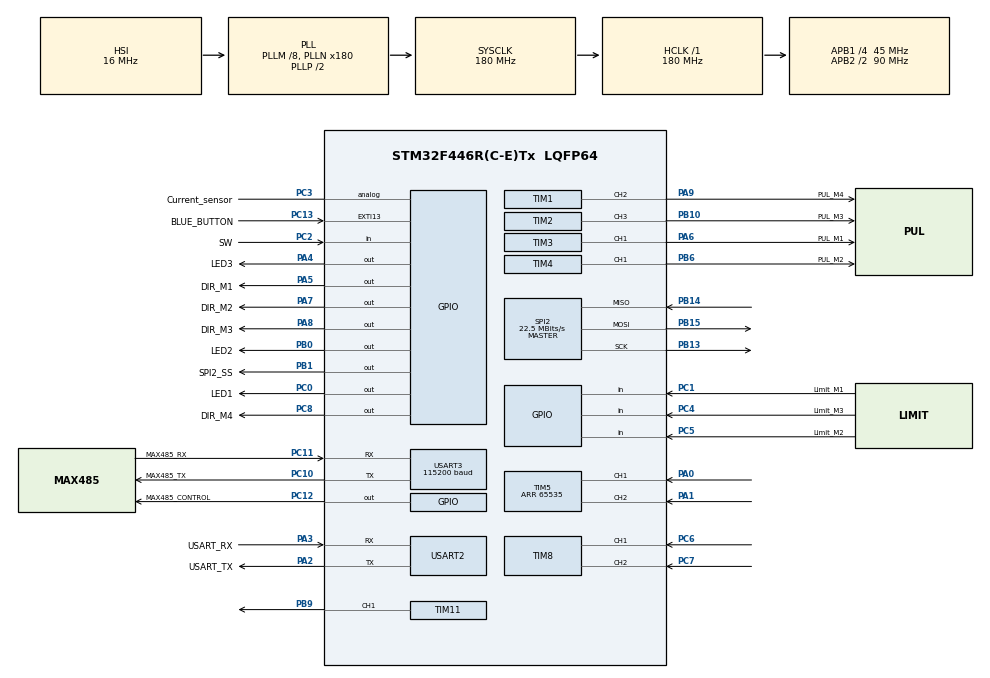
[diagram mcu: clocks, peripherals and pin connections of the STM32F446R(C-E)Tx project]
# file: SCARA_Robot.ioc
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Mcu.Family=STM32F4
Mcu.Name=STM32F446R(C-E)Tx
Mcu.Package=LQFP64
NVIC.PriorityGroup=NVIC_PRIORITYGROUP_4
NVIC.TIM1_UP_TIM10_IRQn=true\:0\:0\:false\:false\:true\:true\:true
NVIC.TIM6_DAC_IRQn=true\:0\:0\:false\:false\:true\:true\:true
NVIC.USART2_IRQn=true\:0\:0\:false\:false\:true\:true\:true
PA0-WKUP.Signal=S_TIM5_CH1
PA1.Signal=S_TIM5_CH2
PA13.GPIO_Label=TMS
PA13.Mode=Serial_Wire
PA13.Signal=SYS_JTMS-SWDIO
PA14.GPIO_Label=TCK
PA14.Mode=Serial_Wire
PA14.Signal=SYS_JTCK-SWCLK
PA2.GPIO_Label=USART_TX
PA2.Mode=Asynchronous
PA2.Signal=USART2_TX
PA3.GPIO_Label=USART_RX
PA3.Mode=Asynchronous
PA3.Signal=USART2_RX
PA4.GPIO_Label=LED3
PA4.Signal=GPIO_Output
PA5.GPIO_Label=DIR_M1
PA5.Signal=GPIO_Output
PA6.GPIO_Label=PUL_M1
PA6.Signal=S_TIM3_CH1
PA7.GPIO_Label=DIR_M2
PA7.Signal=GPIO_Output
PA8.GPIO_Label=DIR_M3
PA8.Signal=GPIO_Output
PA9.GPIO_Label=PUL_M4
PA9.Signal=S_TIM1_CH2
PB0.GPIO_Label=LED2
PB0.Signal=GPIO_Output
PB1.GPIO_Label=SPI2_SS
PB1.Signal=GPIO_Output
PB10.GPIO_Label=PUL_M3
PB10.Signal=S_TIM2_CH3
PB13.Mode=Full_Duplex_Master
PB13.Signal=SPI2_SCK
PB14.Mode=Full_Duplex_Master
PB14.Signal=SPI2_MISO
PB15.Mode=Full_Duplex_Master
PB15.Signal=SPI2_MOSI
PB6.GPIO_Label=PUL_M2
PB6.Signal=S_TIM4_CH1
PB8.GPIO_Label=servo
PB8.Signal=S_TIM10_CH1
PB9.Signal=S_TIM11_CH1
PC0.GPIO_Label=LED1
PC0.Signal=GPIO_Output
PC1.GPIO_Label=Limit_M1
PC1.Signal=GPIO_Input
PC10.GPIO_Label=MAX485_TX
PC10.Mode=Asynchronous
PC10.Signal=USART3_TX
PC11.GPIO_Label=MAX485_RX
PC11.Mode=Asynchronous
PC11.Signal=USART3_RX
PC12.GPIO_Label=MAX485_CONTROL
PC12.Signal=GPIO_Output
PC13.GPIO_Label=BLUE_BUTTON
PC13.GPIO_ModeDefaultEXTI=GPIO_MODE_IT_FALLING
PC13.Signal=GPXTI13
PC14-OSC32_IN.Mode=LSE-External-Oscillator
PC14-OSC32_IN.Signal=RCC_OSC32_IN
PC15-OSC32_OUT.Mode=LSE-External-Oscillator
PC15-OSC32_OUT.Signal=RCC_OSC32_OUT
PC2.GPIO_Label=SW
PC2.Signal=GPIO_Input
PC3.GPIO_Label=Current_sensor
PC3.Signal=GPIO_Analog
PC4.GPIO_Label=Limit_M3
PC4.Signal=GPIO_Input
PC5.GPIO_Label=Limit_M2
PC5.Signal=GPIO_Input
PC6.Signal=S_TIM8_CH1
PC7.Signal=S_TIM8_CH2
PC8.GPIO_Label=DIR_M4
PC8.Signal=GPIO_Output
PH0-OSC_IN.Mode=HSE-External-Oscillator
PH0-OSC_IN.Signal=RCC_OSC_IN
PH1-OSC_OUT.Mode=HSE-External-Oscillator
PH1-OSC_OUT.Signal=RCC_OSC_OUT
ProjectManager.HeapSize=0x200
ProjectManager.StackSize=0x400
ProjectManager.TargetToolchain=STM32CubeIDE
RCC.48MHZClocksFreq_Value=84000000
RCC.AHBFreq_Value=180000000
RCC.APB1CLKDivider=RCC_HCLK_DIV4
RCC.APB1Freq_Value=45000000
RCC.APB1TimFreq_Value=90000000
RCC.APB2CLKDivider=RCC_HCLK_DIV2
RCC.APB2Freq_Value=90000000
RCC.APB2TimFreq_Value=180000000
RCC.CortexFreq_Value=180000000
RCC.FLatency-AdvancedSettings=FLASH_LATENCY_5
RCC.HCLKFreq_Value=180000000
RCC.HSE_VALUE=8000000
RCC.HSI_VALUE=16000000
RCC.PLLM=8
RCC.PLLN=180
RCC.SYSCLKFreq_VALUE=180000000
RCC.SYSCLKSource=RCC_SYSCLKSOURCE_PLLCLK
RCC.USBFreq_Value=180000000
RCC.VCOOutputFreq_Value=360000000
SH.S_TIM10_CH1.0=TIM10_CH1
SH.S_TIM11_CH1.0=TIM11_CH1,PWM Generation1 CH1
SH.S_TIM1_CH2.0=TIM1_CH2,PWM Generation2 CH2
SH.S_TIM2_CH3.0=TIM2_CH3,PWM Generation3 CH3
SH.S_TIM3_CH1.0=TIM3_CH1,PWM Generation1 CH1
SH.S_TIM4_CH1.0=TIM4_CH1,PWM Generation1 CH1
SH.S_TIM5_CH1.0=TIM5_CH1,Encoder_Interface
SH.S_TIM5_CH2.0=TIM5_CH2,Encoder_Interface
SH.S_TIM8_CH1.0=TIM8_CH1,Encoder_Interface
SH.S_TIM8_CH2.0=TIM8_CH2,Encoder_Interface
SPI2.CalculateBaudRate=22.5 MBits/s
SPI2.Direction=SPI_DIRECTION_2LINES
SPI2.Mode=SPI_MODE_MASTER
SPI2.VirtualType=VM_MASTER
TIM1.AutoReloadPreload=TIM_AUTORELOAD_PRELOAD_ENABLE
TIM1.Channel-PWM\ Generation2\ CH2=TIM_CHANNEL_2
TIM1.Period=100-1
TIM1.Prescaler=2999
TIM1.Pulse-PWM\ Generation2\ CH2=50
TIM11.Channel=TIM_CHANNEL_1
TIM2.AutoReloadPreload=TIM_AUTORELOAD_PRELOAD_ENABLE
TIM2.Channel-PWM\ Generation3\ CH3=TIM_CHANNEL_3
TIM2.Period=119
TIM2.Prescaler=1499
TIM2.Pulse-PWM\ Generation3\ CH3=60
TIM3.AutoReloadPreload=TIM_AUTORELOAD_PRELOAD_ENABLE
TIM3.Channel-PWM\ Generation1\ CH1=TIM_CHANNEL_1
TIM3.Period=100-1
TIM3.Prescaler=1499
TIM3.Pulse-PWM\ Generation1\ CH1=50
TIM4.AutoReloadPreload=TIM_AUTORELOAD_PRELOAD_ENABLE
TIM4.Channel-PWM\ Generation1\ CH1=TIM_CHANNEL_1
TIM4.Period=100-1
TIM4.Prescaler=1499
TIM4.Pulse-PWM\ Generation1\ CH1=50
TIM5.EncoderMode=TIM_ENCODERMODE_TI12
TIM5.IC1Filter=1
TIM5.IC2Filter=1
TIM5.Period=65535
TIM6.Period=9999
TIM6.Prescaler=89
USART2.VirtualMode=VM_ASYNC
USART3.BaudRate=115200
USART3.VirtualMode=VM_ASYNC
VP_TIM11_VS_ClockSourceINT.Mode=Enable_Timer
VP_TIM1_VS_ClockSourceINT.Mode=Internal
VP_TIM2_VS_ClockSourceINT.Mode=Internal
VP_TIM3_VS_ClockSourceINT.Mode=Internal
VP_TIM4_VS_ClockSourceINT.Mode=Internal
VP_TIM6_VS_ClockSourceINT.Mode=Enable_Timer
board=NUCLEO-F446RE

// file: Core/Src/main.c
/* USER CODE BEGIN Header */
/**
  ******************************************************************************
  * @file           : main.c
  * @brief          : Main program body
  ******************************************************************************
  * @attention
  *
  * <h2><center>&copy; Copyright (c) 2021 STMicroelectronics.
  * All rights reserved.</center></h2>
  *
  * This software component is licensed by ST under BSD 3-Clause license,
  * the "License"; You may not use this file except in compliance with the
  * License. You may obtain a copy of the License at:
  *                        opensource.org/licenses/BSD-3-Clause
  *
  ******************************************************************************
  */
/* USER CODE END Header */
#include "main.h"
#include "spi.h"
#include "tim.h"
#include "usart.h"
#include "gpio.h"

/* USER CODE BEGIN Includes */

// #####################   Aon  Include   ################//
#include "Motor.h"
#include <string.h>
#include "Protocal.h"

// #####################   Klui Include   ################//
#include "stdio.h"
#include "AMT21.h"
#include "math.h"
/* USER CODE END Includes */

/* USER CODE BEGIN PTD */

// #####################   Aon  typedef   ################//

// #####################   Klui typedef   ################//

/* USER CODE END PTD */

/* USER CODE BEGIN PD */

// #####################   Aon  define   ################//

// #####################   Klui define   ################//
#define _USE_MATH_DEFINES
#define h1 371
#define h2 39.6
#define l1 486
#define l2 290

/* USER CODE END PD */

/* USER CODE BEGIN PV */

// #####################   Aon  Variable   ################//
Motor motor1;
Motor motor2;
Motor motor3;
Motor motor4;
int16_t PUL[2];

// #####################   Klui Variable   ################//
//serial gobol variable
uint8_t RX_Buffer[12]= {0};
uint8_t package[12];
uint8_t state_check = 0;
uint8_t uart_flag;
uint8_t sum_package=0;
//uint8_t state;
//uint8_t checksum[2];
uint8_t acknowledge[4] = {255, 1, 1, 1};

//timer flag
uint8_t control_flag;
uint8_t read_encoder_flag;
//encode variable
//amt103
int32_t encoder_1; //j1
int32_t encoder_2; //j2
//amt21
AMT21 encoder_3; //j3
AMT21 encoder_4; //j3
uint64_t err_count = 0;
uint64_t err_count1 = 0;
uint16_t Enc3_Pos;
uint16_t Enc4_Pos;
int64_t Pos_Joint3;
int32_t diff3;
//position read
float rpos[4]; //rad
float rpos_old[4];
//joint space var
float q1; //rad
float q2; //mm
float q3; //rad
float q4; //rad
//task space var
float rz;
float x;
float y;
float z;
//ref form highlevel
float rz_ref;
float x_ref;
float y_ref;
float z_ref;
float q1_ref;
float q2_ref;
float q3_ref;
float q4_ref;
//trajectory gen
float C[6][4];
float a,b,c;
float con_t = 0.005;
float t=0;
float pt[4];
float vt[4];
float at[4];
float p_start[4];
float p_final[4];
float v_start[4]={30,0,30,0};
float v_final[4]={30,0,30,0};
float a_start[4]={0,0,0,0};
float a_final[4]={0,0,0,0};
//PID
float POScurrent[4];
float POSlast[4];
float Pe[4];
float A[4]={0,0,0,0};
float V[4]={0,0,0,0};
float B[4]={0,0,0,0};
float kpp[4]={390,240,350,150};//{0.00000005,0,0,0};
float kpi[4]={0,0,0,0};
float kpd[4]={0,0,0,0};
//IK
int gramma=1;
int flag;

float v_rz;
float v_x;
float v_y;
float v_z;
float v_q1; //rad/s
float v_q2; //mm/s
float v_q3; //rad/s
float v_q4; //rad/s
float dq[4];
float timetraj=6.0;
/* USER CODE END PV */

void SystemClock_Config(void);
/* USER CODE BEGIN PFP */

// ##############################################################   Aon  Declare Function   ################//
void Servo_Open (void);
void Servo_Close (void);
void setHome (void);

// ##############################################################   Klui  Declare Function   ################//
void CheckState(void);
void main_state(void);
void jogging(void);
void linearJog(void);
void update_q(void);
void read_position_ref(void);
void read_joint_ref(void);
void read_z_ref(void);
void traj_gen(float T);
void traj_eval(void);
void run(void);
void runz(void);
void control_J1(void);
void control_J2(void);
void control_J3(void);
void control_J4(void);
void IK(void);
//encoder test
void read_encoder(void);
void read_encoder2(void);
void enc2positionUnit(void);
/* USER CODE END PFP */

/* USER CODE BEGIN 0 */

// ##############################################################   Aon  Create Function Interrupt   #######################//

// ##############################################################   Klui Create Function Interrupt   #######################//
void HAL_UART_RxCpltCallback(UART_HandleTypeDef *huart) {
	uart_flag = 1;
	memcpy(package,RX_Buffer,12);
	HAL_UART_Receive_IT(&huart2, RX_Buffer, 12);
}

void HAL_TIM_PeriodElapsedCallback(TIM_HandleTypeDef *htim) {
// #################################   Aon  Call Timer Interrupt   ################################# //

// #################################   Klui Call Timer Interrupt   ################################# //
  if (htim == &htim6 )
  {
	  control_flag = 1;
  }
}

/* USER CODE END 0 */

int main(void)
{

  /* MCU Configuration--------------------------------------------------------*/

  /* Reset of all peripherals, Initializes the Flash interface and the Systick. */
  HAL_Init();

  /* Configure the system clock */
  SystemClock_Config();

  /* Initialize all configured peripherals */
  MX_GPIO_Init();
  MX_USART2_UART_Init();
  MX_TIM1_Init();
  MX_TIM2_Init();
  MX_TIM3_Init();
  MX_TIM4_Init();
  MX_SPI2_Init();
  MX_USART3_UART_Init();
  MX_TIM6_Init();
  MX_TIM8_Init();
  MX_TIM5_Init();
  MX_TIM11_Init();
  /* USER CODE BEGIN 2 */

  // #################################################################   Aon  Initialize   ################//
  Motor_Initialize(&motor1, &htim3, TIM_CHANNEL_1, DIR_M1_GPIO_Port, DIR_M1_Pin, 15, 150); //M1
  Motor_Initialize(&motor2, &htim4, TIM_CHANNEL_1, DIR_M2_GPIO_Port, DIR_M2_Pin, 5, 1300); //M2
  Motor_Initialize(&motor3, &htim2, TIM_CHANNEL_3, DIR_M3_GPIO_Port, DIR_M3_Pin, 0, 700); //M3
  Motor_Initialize(&motor4, &htim1, TIM_CHANNEL_2, DIR_M4_GPIO_Port, DIR_M4_Pin, 10, 500); //M4
//  HAL_TIM_PWM_Start(&htim10, TIM_CHANNEL_1);

  // #################################################################   Klui Initialize   ################//
  HAL_TIM_Base_Start_IT(&htim6);

  AMT21_initialize(&encoder_3, &huart3, 0x34, MAX485_CONTROL_GPIO_Port, MAX485_CONTROL_Pin);
  AMT21_initialize(&encoder_4, &huart3, 0x04, MAX485_CONTROL_GPIO_Port, MAX485_CONTROL_Pin);

  HAL_UART_Receive_IT(&huart2, RX_Buffer, 12);
  HAL_TIM_Encoder_Start(&htim5, TIM_CHANNEL_ALL);
  HAL_TIM_Encoder_Start(&htim8, TIM_CHANNEL_ALL);
  TIM5->CNT = 100; //en1 init
  TIM8->CNT = 1000; //en2 init
  //AMT21_set_zero(&encoder_3);
  /* USER CODE END 2 */

  /* Infinite loop */
  /* USER CODE BEGIN WHILE */

// #########################   Aon  Variable    #########################//
//  Drive_Motor(&motor1, -70);
//  Drive_Motor(&motor2, 1200);
//  HAL_Delay(4000);
//  Drive_Motor(&motor1, 0);
//  Drive_Motor(&motor2, 0);
//  HAL_Delay(500);

// #########################   Klui  Variable   #########################//
  setHome();
//  Enc3_Pos = 0;
//  Enc4_Pos = 0;
  read_encoder();
  //init position
  q1 = -M_PI/2; //rad
  q2=0; //mm
  q3=(3*M_PI)/4; //rad
  q4=0; //rad
  enc2positionUnit();
  for(int i = 0;i<=4;i++){
	  rpos_old[i]=rpos[i];
  }
  read_encoder_flag=0;
  while (1)
  {
// #########################   Aon   #########################//
//	  if (!HAL_GPIO_ReadPin(Limit_M2_GPIO_Port, Limit_M2_Pin)) {
//	  		  HAL_GPIO_TogglePin(LED1_GPIO_Port, LED1_Pin);
//	  	  }

// #########################   Klui  #########################//
	  if (control_flag==1) {
//		  package_state(&state_check,package,sizeof(package));
		  main_state();
		  if(read_encoder_flag==0){
			  read_encoder();
			  read_encoder_flag=1;
		  }else{
			  read_encoder2();
			  read_encoder_flag=0;
		  }
		  update_q();
		  control_flag = 0;
	  }
	  if (uart_flag == 1) {
		  CheckState();
//		  if(state_check!=0){
//			  HAL_UART_Transmit(&huart2,acknowledge,sizeof(acknowledge),100);
//			  state_check=0;
//		  }
		  uart_flag = 0;
	  }

    /* USER CODE END WHILE */

  }
}

void SystemClock_Config(void)
{
  RCC_OscInitTypeDef RCC_OscInitStruct = {0};
  RCC_ClkInitTypeDef RCC_ClkInitStruct = {0};

  /** Configure the main internal regulator output voltage
  */
  __HAL_RCC_PWR_CLK_ENABLE();
  __HAL_PWR_VOLTAGESCALING_CONFIG(PWR_REGULATOR_VOLTAGE_SCALE1);
  /** Initializes the RCC Oscillators according to the specified parameters
  * in the RCC_OscInitTypeDef structure.
  */
  RCC_OscInitStruct.OscillatorType = RCC_OSCILLATORTYPE_HSI;
  RCC_OscInitStruct.HSIState = RCC_HSI_ON;
  RCC_OscInitStruct.HSICalibrationValue = RCC_HSICALIBRATION_DEFAULT;
  RCC_OscInitStruct.PLL.PLLState = RCC_PLL_ON;
  RCC_OscInitStruct.PLL.PLLSource = RCC_PLLSOURCE_HSI;
  RCC_OscInitStruct.PLL.PLLM = 8;
  RCC_OscInitStruct.PLL.PLLN = 180;
  RCC_OscInitStruct.PLL.PLLP = RCC_PLLP_DIV2;
  RCC_OscInitStruct.PLL.PLLQ = 2;
  RCC_OscInitStruct.PLL.PLLR = 2;
  if (HAL_RCC_OscConfig(&RCC_OscInitStruct) != HAL_OK)
  {
    Error_Handler();
  }
  /** Activate the Over-Drive mode
  */
  if (HAL_PWREx_EnableOverDrive() != HAL_OK)
  {
    Error_Handler();
  }
  /** Initializes the CPU, AHB and APB buses clocks
  */
  RCC_ClkInitStruct.ClockType = RCC_CLOCKTYPE_HCLK|RCC_CLOCKTYPE_SYSCLK
                              |RCC_CLOCKTYPE_PCLK1|RCC_CLOCKTYPE_PCLK2;
  RCC_ClkInitStruct.SYSCLKSource = RCC_SYSCLKSOURCE_PLLCLK;
  RCC_ClkInitStruct.AHBCLKDivider = RCC_SYSCLK_DIV1;
  RCC_ClkInitStruct.APB1CLKDivider = RCC_HCLK_DIV4;
  RCC_ClkInitStruct.APB2CLKDivider = RCC_HCLK_DIV2;

  if (HAL_RCC_ClockConfig(&RCC_ClkInitStruct, FLASH_LATENCY_5) != HAL_OK)
  {
    Error_Handler();
  }
}

/* USER CODE BEGIN 4 */

// #########################   Aon   #########################//
void setHome (void) {
	while(1){
		if (control_flag==1) {
			if(read_encoder_flag==0){
				read_encoder();
				read_encoder_flag=1;
			}else{
				read_encoder2();
				read_encoder_flag=0;
			}
			if (HAL_GPIO_ReadPin(Limit_M1_GPIO_Port, Limit_M1_Pin) &&
				HAL_GPIO_ReadPin(Limit_M2_GPIO_Port, Limit_M2_Pin) &&
				(Enc3_Pos >= 3498 && Enc3_Pos <= 3502) &&
				( Enc4_Pos >= 1387 && Enc4_Pos <= 1393)) {
				Drive_Motor(&motor1, 0);
				Drive_Motor(&motor2, 0);
				Drive_Motor(&motor3, 0);
				Drive_Motor(&motor4, 0);
				TIM5->CNT = 100;
				TIM8->CNT = 1000;
				break;
			}
			if ( Enc3_Pos >= 3497 && Enc3_Pos <= 3503) {
				Drive_Motor(&motor3, 0);
			}
			else if (Enc3_Pos > 3503) {
				Drive_Motor(&motor3, 55);
			}
			else if (Enc3_Pos < 3497) {
				Drive_Motor(&motor3, -55);
			}
			if ( Enc4_Pos >= 1387 && Enc4_Pos <= 1393) {
				Drive_Motor(&motor4, 0);
			}
			else if (Enc4_Pos > 1393) {
				Drive_Motor(&motor4, 40);
			}
			else if (Enc4_Pos < 1387) {
				Drive_Motor(&motor4, -40);
			}
			if (!HAL_GPIO_ReadPin(Limit_M1_GPIO_Port, Limit_M1_Pin)) {
				Drive_Motor(&motor1, 70);
			}
			else Drive_Motor(&motor1, 0);
			if (!HAL_GPIO_ReadPin(Limit_M2_GPIO_Port, Limit_M2_Pin)) {
				Drive_Motor(&motor2, -1200);
			}
			else Drive_Motor(&motor2, 0);
			control_flag = 0;
		}
	}
//	HAL_Delay(1000);
}

void Servo_Open () {
	TIM10->CCR1 = 205; //
	HAL_Delay(1000);
}

void Servo_Close () {
	TIM10->CCR1 = 165; //keep
	HAL_Delay(1000);
}

// #########################   Klui  #########################//
void CheckState(void) {
    for (int i = 1; i<12-1; i++) {
        sum_package += package[i];
    }
    if (package[0] == 255) { //header
        if (package[11] == sum_package) { //checksum
            state_check = package[2];
            sum_package = 0;
        } else {
            //err();
        	for (int i = 0; i<12; i++) {
				package[i] = 0;
			}
        	sum_package = 0;
        }
    } else {
        //err();
    	for (int i = 0; i<12; i++) {
			package[i] = 0;
		}
    	sum_package = 0;
    }
    //memcpy(package,pack,size);
}

void main_state(void){
	//state_check > 1
	if (state_check == 1){
		jogging();
		HAL_UART_Transmit(&huart2,acknowledge,sizeof(acknowledge),100);
		state_check = 0;
	}
	else if (state_check == 2){
		read_position_ref();
		IK();
		p_start[0]=q1;
		p_start[1]=q2;
		p_start[2]=q3;
		p_start[3]=q4;
		p_final[0]=q1_ref;
		p_final[1]=q2_ref;
		p_final[2]=q3_ref;
		p_final[3]=q4_ref;
		for(int i=0;i<4;i++){
			v_start[i]=0;
			v_final[i]=0;
			a_start[i]=0;
			a_final[i]=0;
		}
		traj_gen(timetraj);
//		HAL_UART_Transmit(&huart2,acknowledge,sizeof(acknowledge),100);
		state_check = 4;
	}
	else if (state_check == 3){
		read_joint_ref();
		p_start[0]=q1;
		p_start[1]=q2;
		p_start[2]=q3;
		p_start[3]=q4;
		p_final[0]=q1_ref;
		p_final[1]=q2_ref;
		p_final[2]=q3_ref;
		p_final[3]=q4_ref;
		for(int i=0;i<4;i++){
			v_start[i]=0;
			v_final[i]=0;
			a_start[i]=0;
			a_final[i]=0;
		}
		traj_gen(timetraj);
//		HAL_UART_Transmit(&huart2,acknowledge,sizeof(acknowledge),100);
		state_check = 4;
	}
	else if (state_check == 4){
		run();
//		HAL_UART_Transmit(&huart2,acknowledge,sizeof(acknowledge),100);
//		state_check = 0;
	}
	else if (state_check == 5){
		setHome();
//		HAL_Delay(5000);
		HAL_UART_Transmit(&huart2,acknowledge,sizeof(acknowledge),100);
		state_check = 0;
		//init position
		q1 = -M_PI/2; //rad
		q2=0; //mm
		q3=(3*M_PI)/4; //rad
		q4=0; //rad
		enc2positionUnit();
		for(int i = 0;i<=4;i++){
		  rpos_old[i]=rpos[i];
		}
		read_encoder_flag=0;
	}
	else if (state_check == 6){
		if(package[10] == 1){
			Servo_Close();
		}
		else{
			Servo_Open();
		}
		HAL_UART_Transmit(&huart2,acknowledge,sizeof(acknowledge),100);
		state_check = 0;
	}
	else if (state_check == 7){
		read_z_ref();
		IK();
		p_start[1]=q2;
		p_final[1]=q2_ref;
		for(int i=0;i<4;i++){
			v_start[i]=0;
			v_final[i]=0;
			a_start[i]=0;
			a_final[i]=0;
		}
		traj_gen(5.0);
//		HAL_UART_Transmit(&huart2,acknowledge,sizeof(acknowledge),100);
		state_check = 8;
	}
	else if (state_check == 8){
		runz();
	}
}
void jogging (void) {
	switch (package[10]) {
		case 5:
			Drive_Motor(&motor1, 60);
			break;

		case 6 :
			Drive_Motor(&motor1, -60);
			break;
		case 7 :
			Drive_Motor(&motor2, -1200);
			break;

		case 8 :
			Drive_Motor(&motor2, 1200);
			break;

		case 9 :
			Drive_Motor(&motor3, 100);
			break;

		case 10 :
			Drive_Motor(&motor3, -100);
			break;

		case 11 :
			Drive_Motor(&motor4, 200);
			break;

		case 12 :
			Drive_Motor(&motor4, -200);
			break;

		case 1 :
			v_x = 60;
			v_y = 0;
			linearJog();
			break;

		case 3 :
			v_x = 0;
			v_y = 50;
			linearJog();
			break;

		case 2 :
			v_x = -60;
			v_y = 0;
			linearJog();
			break;

		case 4 :
			v_x = 0;
			v_y = -50;
			linearJog();
			break;

		case 255 :
			v_x = 0;
			v_y = 0;
			Motor_Stop_All();
			break;

		default:
			//err();
			//clear_buffer();
			v_x = 0;
			v_y = 0;
			Motor_Stop_All();
	}
}

void read_position_ref(void){
	rz_ref = (int16_t)(package[3]<<8)+(package[4]);
	x_ref = (int16_t)(package[5]<<8)+(package[6]);
	y_ref = (int16_t)(package[7]<<8)+(package[8]);
	z_ref = (int16_t)(package[9]<<8)+(package[10]);
	rz_ref = rz_ref/1000;
	x_ref = x_ref/10;
	y_ref = y_ref/10;
	z_ref = z_ref/10;
}
void read_z_ref(void){
	z_ref = (int16_t)(package[9]<<8)+(package[10]);
	z_ref = z_ref/10;
}
void read_joint_ref(void){
	q1_ref = (int16_t)(package[3]<<8)+(package[4]);
	q2_ref = (int16_t)(package[5]<<8)+(package[6]);
	q3_ref = (int16_t)(package[7]<<8)+(package[8]);
	q4_ref = (int16_t)(package[9]<<8)+(package[10]);
	q1_ref = q1_ref/1000;
	q2_ref = q2_ref/100;
	q3_ref = q3_ref/1000;
	q4_ref = q4_ref/1000;
}
void traj_gen(float T){
	for(int i=0;i<4;i++){
		C[0][i] = p_start[i];
		C[1][i] = v_start[i];
		C[2][i] = a_start[i]/2.0;
		a = p_final[i] - (p_start[i] + (v_start[i]*T) + (a_start[i]*(pow(T,2))/2));
		b = v_final[i] - (v_start[i] + (a_start[i]*T));
		c = a_final[i] - a_start[i];
		C[3][i] = (10.0*a/(pow(T,3))) - (4.0*b/(pow(T,2))) + (c/(2.0*T));
		C[4][i] = (-15.0*a/(pow(T,4))) + (7.0*b/(pow(T,3))) - (c/(pow(T,2)));
		C[5][i] = (6.0*a/(pow(T,5))) - (3.0*b/(pow(T,4))) + (c/(2.0*(pow(T,3))));
	}
}
void traj_eval(void){
	t += con_t;
	for(int i=0;i<4;i++){
		 pt[i] = C[0][i] + (C[1][i]*t) + (C[2][i]*(pow(t,2))) + (C[3][i]*(pow(t,3))) + (C[4][i]*(pow(t,4))) + (C[5][i]*(pow(t,5)));
		 vt[i] = C[1][i] + (2.0*C[2][i]*t) + (3.0*C[3][i]*(pow(t,2))) + (4.0*C[4][i]*(pow(t,3))) + (5.0*C[5][i]*(pow(t,4)));
		 at[i] = (2.0*C[2][i]) + (6.0*C[3][i]*t) + (12.0*C[4][i]*(pow(t,2))) + (20.0*C[5][i]*(pow(t,3)));
	}
}
void run(void){
	traj_eval();
	control_J1();
	control_J2();
	control_J3();
	control_J4();
	if(t>=timetraj){
		HAL_UART_Transmit(&huart2,acknowledge,sizeof(acknowledge),100);
		state_check=0;
		Motor_Stop_All();
		t=0;
	}
}
void runz(void){
	traj_eval();
	control_J2();
	if(t>=5.0){
		HAL_UART_Transmit(&huart2,acknowledge,sizeof(acknowledge),100);
		state_check=0;
		Motor_Stop_All();
		t=0;
	}
}

void control_J1(void){
//	float setpoint = pt[0];
	POScurrent[0] = q1;
//	POSlast[0] = POScurrent[0];
	Pe[0] = pt[0] - POScurrent[0];
	A[0] = A[0] + Pe[0];
	V[0] = (kpp[0] * Pe[0])+(kpi[0] * A[0])+(kpd[0] * (Pe[0] - B[0]));
	B[0] = Pe[0];
	Drive_Motor(&motor1, -V[0]);
}
void control_J2(void){
//	float setpoint = pt[0];
	POScurrent[1] = q2;
//	POSlast[0] = POScurrent[0];
	Pe[1] = pt[1] - POScurrent[1];
	A[1] = A[1] + Pe[1];
	V[1] = (kpp[1] * Pe[1])+(kpi[1] * A[1])+(kpd[1] * (Pe[1] - B[1]));
	B[1] = Pe[1];
	Drive_Motor(&motor2, V[1]);
}
void control_J3(void){
//	float setpoint = pt[0];
	POScurrent[2] = q3;
//	POSlast[0] = POScurrent[0];
	Pe[2] = pt[2] - POScurrent[2];
	A[2] = A[2] + Pe[2];
	V[2] = (kpp[2] * Pe[2])+(kpi[2] * A[2])+(kpd[2] * (Pe[2] - B[2]));
	B[2] = Pe[2];
	Drive_Motor(&motor3, -V[2]);
}
void control_J4(void){
//	float setpoint = pt[0];
	POScurrent[3] = q4;
//	POSlast[0] = POScurrent[0];
	Pe[3] = pt[3] - POScurrent[3];
	A[3] = A[3] + Pe[3];
	V[3] = (kpp[3] * Pe[3])+(kpi[3] * A[3])+(kpd[3] * (Pe[3] - B[3]));
	B[3] = Pe[3];
	Drive_Motor(&motor4, -V[3]);
}
void IK(void){
    q2_ref = h1 - h2 - z_ref;
    float c3 = ((pow(x_ref,2))+(pow(y_ref,2))-(pow(l1,2))-(pow(l2,2)))/(2*l1*l2);
    float s3 = gramma*(sqrt(1-(c3*c3)));
    q1_ref = atan2(y_ref,x_ref)-atan2(l2*s3,l1+(l2*c3));
    q3_ref = atan2(s3,c3);
    if(sqrt((x_ref*x_ref)+(y_ref*y_ref)) >= l1+l2){
        flag = 1;
    }
    else {flag = 0;}
    if (flag==0){
//        q4_ref = rz_ref+q1_ref+q3_ref;
    }
    else{
        //error
    }
}
//encoder function
void read_encoder(void){
	encoder_1 = (TIM5->CNT)-100;
	encoder_2 = (TIM8->CNT)-1000;
	AMT21_read_value(&encoder_3);
	HAL_StatusTypeDef rep3 = AMT21_check_value(&encoder_3);
	if (rep3 == HAL_ERROR){
		//err_count++;
	}
	else{
		Enc3_Pos = encoder_3.position;
	}
}
void read_encoder2(void){
	encoder_1 = (TIM5->CNT)-100;
	encoder_2 = (TIM8->CNT)-1000;
	AMT21_read_value(&encoder_4);
	HAL_StatusTypeDef rep4 = AMT21_check_value(&encoder_4);
	if (rep4 == HAL_ERROR){
		//err_count1++;
	}
	else{
		Enc4_Pos = encoder_4.position;
	}
}

void linearJog(void) {

	v_q1 = -(v_x*cos(q1 + q3))/(l1*cos(q1 + q3)*sin(q1)-l1*sin(q1 + q3)*cos(q1)) -
			(v_y*sin(q1 + q3))/(l1*cos(q1 + q3)*sin(q1)-l1*sin(q1 + q3)*cos(q1));
	v_q2 = v_z;
	v_q3 = (v_x*(l2*cos(q1 + q3) + l1*cos(q1)))/(l1*l2*cos(q1 + q3)*sin(q1) -
			l1*l2*sin(q1 + q3)*cos(q1)) + (v_y*(l2*sin(q1 + q3) + l1*sin(q1))) /
			(l1*l2*cos(q1 + q3)*sin(q1) - l1*l2*sin(q1 + q3)*cos(q1));
	v_q4 = v_rz - (v_x*cos(q1))/(l2*cos(q1 + q3)*sin(q1) - l2*sin(q1 + q3)*cos(q1)) -
			(v_y*sin(q1))/(l2*cos(q1 + q3)*sin(q1) - l2*sin(q1 + q3)*cos(q1));

	Drive_Motor(&motor1, -(int16_t)(v_q1*381.97186));
	Drive_Motor(&motor3, -(int16_t)(v_q3*381.97186));

}

void update_q(void){
	enc2positionUnit();
	q1 = q1+(rpos[0]-rpos_old[0]);
	q2 = q2+(rpos[1]-rpos_old[1]);
	q3 = q3+(rpos[2]-rpos_old[2]);
	q4 = q4+(rpos[3]-rpos_old[3]);
	for(int i = 0;i<4;i++){
		rpos_old[i]=rpos[i];
	}
}

void enc2positionUnit(void){
	rpos[0]=(2*M_PI*encoder_1)/8192; //rad
	rpos[1]=(5.0*encoder_2)/1600; //mm
	rpos[2]=(2*M_PI*Enc3_Pos)/4096; //rad
	rpos[3]=(2*M_PI*Enc4_Pos)/4096; //rad
}

/* USER CODE END 4 */

void Error_Handler(void)
{
  __disable_irq();
  while (1)
  {
  }
}
